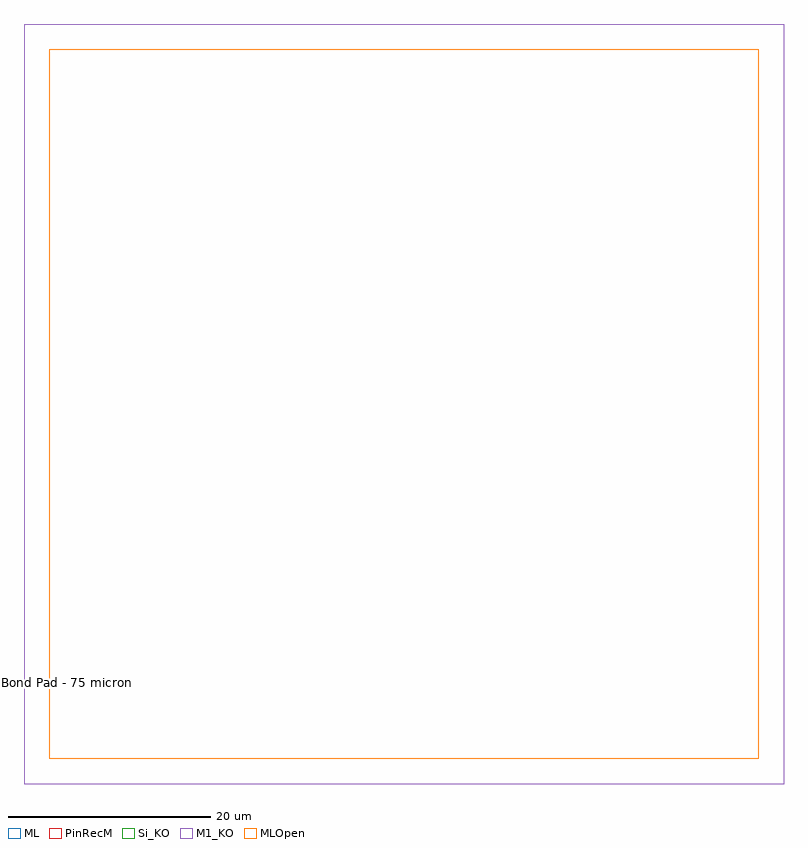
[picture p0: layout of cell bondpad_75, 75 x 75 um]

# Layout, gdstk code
import gdstk
lib = gdstk.Library(unit=1e-6, precision=1e-09)
def R(c, l, rs):  # rectangles x0, y0, x1, y1
    for r in rs: c.add(gdstk.rectangle(r[:2], r[2:], *l))
ML = (45, 0)
MLOpen = (46, 0)
M1_KO = (60, 0)
Si_KO = (63, 0)
PinRecM = (999, 10)

bondpad_75 = lib.new_cell('bondpad_75')
R(bondpad_75, ML, [(-37.5,0,37.5,75), (-2.5,0,2.5,5)])
R(bondpad_75, MLOpen, [(-35,2.5,35,72.5)])
R(bondpad_75, M1_KO, [(-37.5,0,37.5,75)])
R(bondpad_75, Si_KO, [(-37.5,0,37.5,75)])
R(bondpad_75, PinRecM, [(-37.5,0,37.5,75)])
bondpad_75.add(gdstk.Label('Bond Pad - 75 micron', (-35,10), layer=66, texttype=0))

lib.write_gds('bondpad_75.gds')
